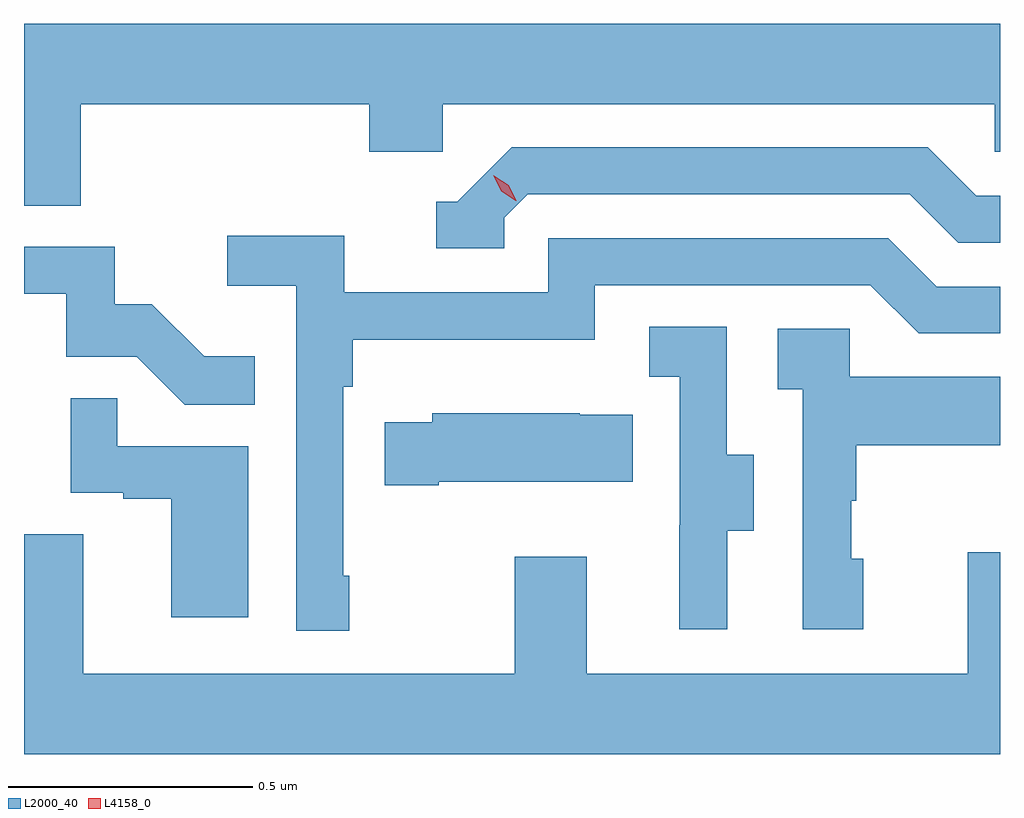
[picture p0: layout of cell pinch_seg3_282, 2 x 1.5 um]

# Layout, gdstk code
import gdstk
lib = gdstk.Library(unit=1e-6, precision=1e-09)
def P(c, l, *ps):  # polygons
    for p in ps: c.add(gdstk.Polygon(p, *l))
L2000_40 = (2000, 40)
L4158_0 = (4158, 0)

pinch_seg3_282 = lib.new_cell('pinch_seg3_282')
P(pinch_seg3_282, L2000_40, [(921.068,708.908),(921.659,708.908),(921.659,708.81),(921.81,708.81),(921.81,708.908),(922.941,708.908),(922.941,708.81),(922.952,708.81),(922.952,709.072),(920.952,709.072),(920.952,708.7),(921.068,708.7)],
  [(921.936,708.675),(921.984,708.723),(922.767,708.723),(922.866,708.624),(922.952,708.624),(922.952,708.72),(922.903,708.72),(922.804,708.819),(921.951,708.819),(921.84,708.708),(921.797,708.708),(921.797,708.612),(921.936,708.612)],
  [(921.619,707.941),(921.606,707.941),(921.606,708.329),(921.626,708.329),(921.626,708.425),(922.122,708.425),(922.122,708.537),(922.686,708.537),(922.785,708.438),(922.952,708.438),(922.952,708.534),(922.822,708.534),(922.723,708.633),(922.026,708.633),(922.026,708.522),(921.608,708.522),(921.608,708.638),(921.369,708.638),(921.369,708.536),(921.51,708.536),(921.51,707.829),(921.619,707.829)],
  [(921.425,708.391),(921.321,708.391),(921.214,708.498),(921.138,708.498),(921.138,708.615),(920.952,708.615),(920.952,708.519),(921.039,708.519),(921.039,708.39),(921.183,708.39),(921.281,708.292),(921.425,708.292)],
  [(922.393,708.034),(922.447,708.034),(922.447,708.189),(922.392,708.189),(922.392,708.452),(922.233,708.452),(922.233,708.349),(922.296,708.349),(922.296,708.045),(922.295,708.045),(922.295,707.832),(922.393,707.832)],
  [(922.672,707.976),(922.647,707.976),(922.647,708.095),(922.657,708.095),(922.657,708.209),(922.952,708.209),(922.952,708.349),(922.644,708.349),(922.644,708.447),(922.497,708.447),(922.497,708.323),(922.548,708.323),(922.548,707.832),(922.672,707.832)],
  [(921.412,708.207),(921.143,708.207),(921.143,708.305),(921.048,708.305),(921.048,708.111),(921.155,708.111),(921.155,708.099),(921.254,708.099),(921.254,707.856),(921.412,707.856)],
  [(921.802,708.134),(922.199,708.134),(922.199,708.271),(922.091,708.271),(922.091,708.274),(921.789,708.274),(921.789,708.256),(921.691,708.256),(921.691,708.127),(921.802,708.127)],
  [(922.952,707.989),(922.886,707.989),(922.886,707.74),(922.105,707.74),(922.105,707.98),(921.958,707.98),(921.958,707.74),(921.073,707.74),(921.073,708.026),(920.952,708.026),(920.952,707.576),(922.952,707.576)])
P(pinch_seg3_282, L4158_0, [(921.96,708.71),(921.93,708.729),(921.914,708.762),(921.914,708.762),(921.914,708.762),(921.945,708.742),(921.961,708.71),(921.961,708.71)])

lib.write_gds('pinch_seg3_282.gds')
